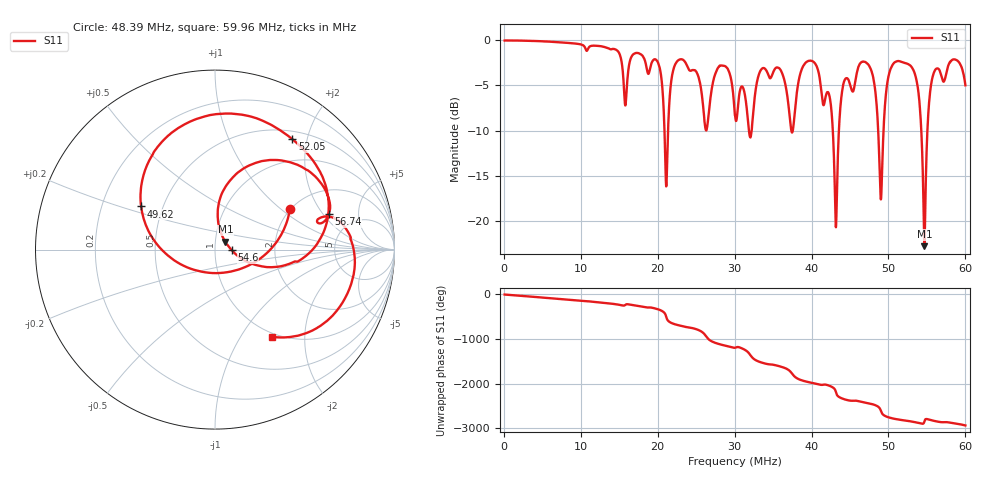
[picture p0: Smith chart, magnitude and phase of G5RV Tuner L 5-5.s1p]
# Hz S RI R 50
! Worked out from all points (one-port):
!   3030 points, 100 kHz to 60 MHz, reference 50 ohm
!   lowest |S11| = -22.8 dB at 54.68 MHz (marker M1), VSWR 1.16, Z = 55.9 + j4.87 ohm
!   |S11| at or under -10 dB: 42.76 MHz to 43.55 MHz (790.4 kHz wide, 1.83 % of centre); 48.66 MHz to 49.36 MHz (694.1 kHz wide, 1.42 % of centre); 54.27 MHz to 55.06 MHz (794.3 kHz wide, 1.45 % of centre)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
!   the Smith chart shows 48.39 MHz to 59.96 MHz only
!   S11 on the Smith chart (normalised r, x): 48.39 MHz: 1.99, +1.15; 49.62 MHz: 0.38, +0.23; 52.05 MHz: 0.62, +1.75; 54.6 MHz: 1.21, -0.01; 56.74 MHz: 3.22, +2.27; 59.96 MHz: 0.95, -1.38
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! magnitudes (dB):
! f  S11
! 100 kHz  0.0
! 7.595 MHz  -0.2
! 15.09 MHz  -1.6
! 19.99 MHz  -2.4
! 21.12 MHz  -16.2
! 22.56 MHz  -2.3
! 26.28 MHz  -10.0
! 28.14 MHz  -2.8
! 30.06 MHz  -8.3
! 35.62 MHz  -3.0
! 37.55 MHz  -10.0
! 40.44 MHz  -2.5
! 42.38 MHz  -6.4
! 43.17 MHz  -20.7
! 43.98 MHz  -5.6
! 45.03 MHz  -5.0
! 48.39 MHz  -6.5
! 49 MHz  -17.6
! 49.62 MHz  -6.4
! 52.05 MHz  -2.5
! 52.52 MHz  -2.6
! 53.85 MHz  -5.5
! 54.6 MHz  -20.6
! 54.68 MHz  -22.8
! 55.51 MHz  -5.1
! 56.74 MHz  -3.6
! 59.96 MHz  -4.7
! 60 MHz  -5.0
